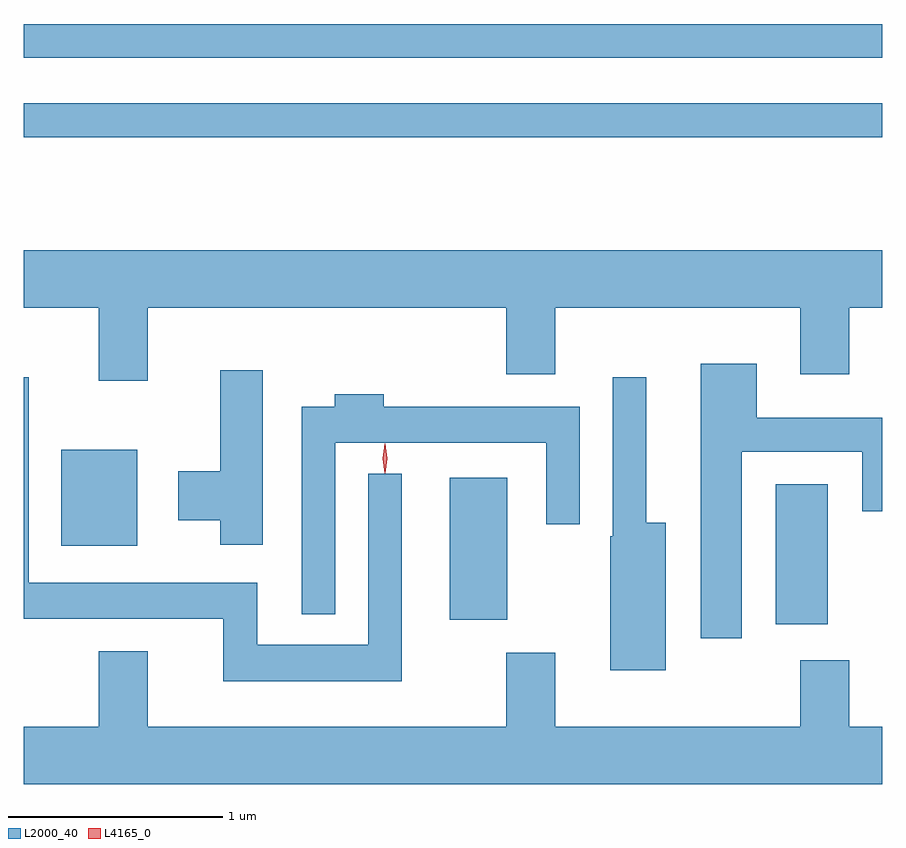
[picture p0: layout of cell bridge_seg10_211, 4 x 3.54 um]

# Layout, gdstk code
import gdstk
lib = gdstk.Library(unit=1e-6, precision=1e-09)
def R(c, l, rs):  # rectangles x0, y0, x1, y1
    for r in rs: c.add(gdstk.rectangle(r[:2], r[2:], *l))
def P(c, l, *ps):  # polygons
    for p in ps: c.add(gdstk.Polygon(p, *l))
L2000_40 = (2000, 40)
L4165_0 = (4165, 0)

bridge_seg10_211 = lib.new_cell('bridge_seg10_211')
R(bridge_seg10_211, L2000_40, [(1750.796,2092.461,1751.039,2093.114), (1749.276,2092.481,1749.544,2093.144), (1747.466,2092.826,1747.819,2093.274), (1747.292,2094.731,1751.292,2094.889), (1747.292,2095.101,1751.292,2095.259)])
P(bridge_seg10_211, L2000_40, [(1747.869,2093.936),(1749.541,2093.936),(1749.541,2093.626),(1749.769,2093.626),(1749.769,2093.936),(1750.911,2093.936),(1750.911,2093.626),(1751.139,2093.626),(1751.139,2093.936),(1751.292,2093.936),(1751.292,2094.204),(1747.292,2094.204),(1747.292,2093.936),(1747.641,2093.936),(1747.641,2093.596),(1747.869,2093.596)],
  [(1750.639,2093.266),(1751.201,2093.266),(1751.201,2092.988),(1751.292,2092.988),(1751.292,2093.424),(1750.709,2093.424),(1750.709,2093.674),(1750.446,2093.674),(1750.446,2092.396),(1750.639,2092.396)],
  [(1748.404,2093.644),(1748.206,2093.644),(1748.206,2093.174),(1748.011,2093.174),(1748.011,2092.946),(1748.206,2092.946),(1748.206,2092.831),(1748.404,2092.831)],
  [(1750.284,2092.934),(1750.194,2092.934),(1750.194,2093.613),(1750.036,2093.613),(1750.036,2092.87),(1750.026,2092.87),(1750.026,2092.246),(1750.284,2092.246)],
  [(1749.054,2093.163),(1748.896,2093.163),(1748.896,2092.364),(1748.379,2092.364),(1748.379,2092.654),(1747.314,2092.654),(1747.314,2093.613),(1747.292,2093.613),(1747.292,2092.486),(1748.221,2092.486),(1748.221,2092.196),(1749.054,2092.196)],
  [(1748.744,2093.306),(1749.726,2093.306),(1749.726,2092.928),(1749.884,2092.928),(1749.884,2093.474),(1748.969,2093.474),(1748.969,2093.534),(1748.741,2093.534),(1748.741,2093.474),(1748.586,2093.474),(1748.586,2092.508),(1748.744,2092.508)],
  [(1751.292,2091.984),(1751.139,2091.984),(1751.139,2092.294),(1750.911,2092.294),(1750.911,2091.984),(1749.769,2091.984),(1749.769,2092.329),(1749.541,2092.329),(1749.541,2091.984),(1747.869,2091.984),(1747.869,2092.334),(1747.641,2092.334),(1747.641,2091.984),(1747.292,2091.984),(1747.292,2091.716),(1751.292,2091.716)])
P(bridge_seg10_211, L4165_0, [(1748.974,2093.164),(1748.965,2093.233),(1748.974,2093.303),(1748.975,2093.303),(1748.975,2093.303),(1748.985,2093.233),(1748.975,2093.164),(1748.975,2093.164)],
  [(1748.974,2093.167),(1748.965,2093.234),(1748.974,2093.3),(1748.975,2093.301),(1748.975,2093.3),(1748.985,2093.234),(1748.975,2093.167),(1748.975,2093.167)])

lib.write_gds('bridge_seg10_211.gds')
